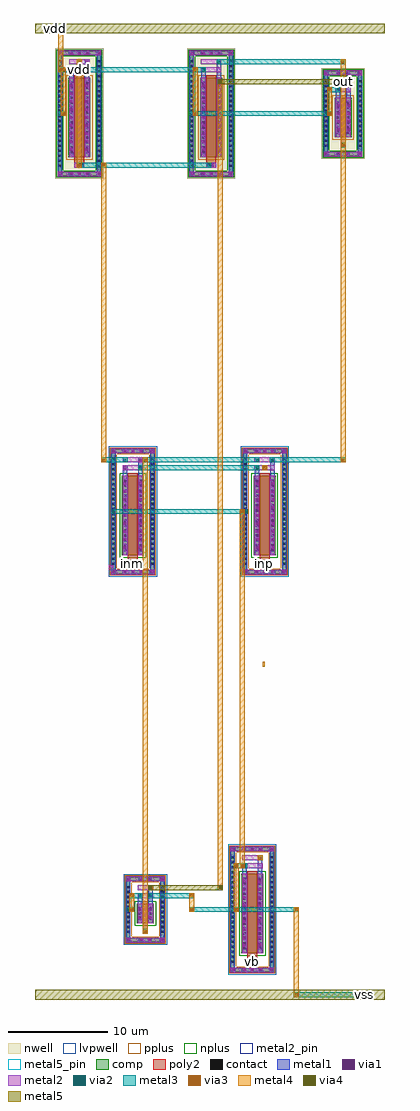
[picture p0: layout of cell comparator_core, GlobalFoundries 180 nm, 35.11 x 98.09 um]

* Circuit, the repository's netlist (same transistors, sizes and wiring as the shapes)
* NGSPICE file created from comparator_core.ext - technology: gf180mcuD

.subckt comparator_core vdd vss out vb inm inp
X0 a_3575_n881# vb vss vss nfet_03v3 ad=4.8p pd=17.2u as=4.8p ps=17.2u w=8u l=1u
X1 a_n100_14911# inm a_855_7119# vss nfet_03v3 ad=4.8p pd=17.2u as=4.8p ps=17.2u w=8u l=1u
X2 out a_1275_n489# vss vss nfet_03v3 ad=1.2p pd=5.2u as=1.2p ps=5.2u w=2u l=0.5u
X3 out a_1275_n489# vdd vdd pfet_03v3 ad=2.4p pd=9.2u as=2.4p ps=9.2u w=4u l=0.5u
X4 a_1275_n489# a_n100_14911# vdd vdd pfet_03v3 ad=4.8p pd=17.2u as=4.8p ps=17.2u w=8u l=1u
X5 a_1275_n489# inp a_855_7119# vss nfet_03v3 ad=4.8p pd=17.2u as=4.8p ps=17.2u w=8u l=1u
X6 a_n100_14911# a_n100_14911# vdd vdd pfet_03v3 ad=4.8p pd=17.2u as=4.8p ps=17.2u w=8u l=1u
.ends

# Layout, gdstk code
import gdstk
lib = gdstk.Library(unit=1e-6, precision=5e-09)
def R(c, l, rs):  # rectangles x0, y0, x1, y1
    for r in rs: c.add(gdstk.rectangle(r[:2], r[2:], *l))
def A(c, l, x, y, w, h, nx, ny, dx, dy):  # array of equal rectangles
    R(c, l, [(x+i*dx, y+j*dy, x+i*dx+w, y+j*dy+h) for i in range(nx) for j in range(ny)])
def P(c, l, *ps):  # polygons
    for p in ps: c.add(gdstk.Polygon(p, *l))
nwell = (21, 0)
comp = (22, 0)
poly2 = (30, 0)
pplus = (31, 0)
nplus = (32, 0)
contact = (33, 0)
metal1 = (34, 0)
via1 = (35, 0)
metal2 = (36, 0)
metal2_pin = (36, 10)
via2 = (38, 0)
via3 = (40, 0)
via4 = (41, 0)
metal3 = (42, 0)
metal4 = (46, 0)
metal5 = (81, 0)
metal5_pin = (81, 10)
lvpwell = (204, 0)

comparator_core = lib.new_cell('comparator_core')
R(comparator_core, nwell, [(-2.43,73.455,2.43,86.545), (10.82,73.455,15.68,86.545), (-2.27,73.615,2.27,86.385), (10.98,73.615,15.52,86.385), (24.32,75.455,28.68,84.545), (24.48,75.615,28.52,84.385)])
A(comparator_core, comp, 16.395, -6.265, 0.36, 0.36, 3, 2, 0.8, 12.17)
A(comparator_core, comp, 15.225, -5.43, 0.36, 0.36, 1, 22, 0, 0.5)
A(comparator_core, comp, 19.165, -5.43, 0.36, 0.36, 1, 22, 0, 0.5)
A(comparator_core, comp, 4.725, -2.43, 0.36, 0.36, 1, 10, 0, 0.5)
A(comparator_core, comp, 8.165, -2.43, 0.36, 0.36, 1, 10, 0, 0.5)
A(comparator_core, comp, 4.395, 33.735, 0.36, 0.36, 3, 2, 0.8, 12.17)
A(comparator_core, comp, 17.645, 33.735, 0.36, 0.36, 3, 2, 0.8, 12.17)
A(comparator_core, comp, 3.225, 34.57, 0.36, 0.36, 1, 22, 0, 0.5)
A(comparator_core, comp, 7.165, 34.57, 0.36, 0.36, 1, 22, 0, 0.5)
A(comparator_core, comp, 16.475, 34.57, 0.36, 0.36, 1, 22, 0, 0.5)
A(comparator_core, comp, 20.415, 34.57, 0.36, 0.36, 1, 22, 0, 0.5)
A(comparator_core, comp, -0.98, 73.735, 0.36, 0.36, 3, 2, 0.8, 12.17)
A(comparator_core, comp, 12.27, 73.735, 0.36, 0.36, 3, 2, 0.8, 12.17)
A(comparator_core, comp, -2.15, 74.57, 0.36, 0.36, 1, 22, 0, 0.5)
A(comparator_core, comp, 1.79, 74.57, 0.36, 0.36, 1, 22, 0, 0.5)
A(comparator_core, comp, 11.1, 74.57, 0.36, 0.36, 1, 22, 0, 0.5)
A(comparator_core, comp, 15.04, 74.57, 0.36, 0.36, 1, 22, 0, 0.5)
A(comparator_core, comp, 24.6, 76.57, 0.36, 0.36, 1, 14, 0, 0.5)
A(comparator_core, comp, 28.04, 76.57, 0.36, 0.36, 1, 14, 0, 0.5)
R(comparator_core, comp, [(16.395,-6.265,18.355,-5.905), (15.225,-5.43,15.585,5.43), (19.165,-5.43,19.525,5.43), (16.275,-4.405,18.475,3.595), (6.045,-3.265,6.405,-2.905), (6.045,-3.265,7.205,-2.905), (6.845,-3.265,7.205,-2.905), (4.725,-2.43,5.085,2.43), (8.165,-2.43,8.525,2.43), (5.775,-1.405,7.475,0.595), (6.045,2.905,6.405,3.265), (6.045,2.905,7.205,3.265), (6.845,2.905,7.205,3.265), (16.395,5.905,18.355,6.265), (4.395,33.735,6.355,34.095), (17.645,33.735,19.605,34.095), (3.225,34.57,3.585,45.43), (7.165,34.57,7.525,45.43), (16.475,34.57,16.835,45.43), (20.415,34.57,20.775,45.43), (4.275,35.595,6.475,43.595), (17.525,35.595,19.725,43.595), (4.395,45.905,6.355,46.265), (17.645,45.905,19.605,46.265), (-0.98,73.735,0.98,74.095), (12.27,73.735,14.23,74.095), (-2.15,74.57,-1.79,85.43), (1.79,74.57,2.15,85.43), (11.1,74.57,11.46,85.43), (15.04,74.57,15.4,85.43), (-1.1,75.595,1.1,83.595), (12.15,75.595,14.35,83.595), (25.92,75.735,26.28,76.095), (25.92,75.735,27.08,76.095), (26.72,75.735,27.08,76.095), (24.6,76.57,24.96,83.43), (28.04,76.57,28.4,83.43), (25.65,77.595,27.35,81.595), (25.92,83.905,26.28,84.265), (25.92,83.905,27.08,84.265), (26.72,83.905,27.08,84.265), (-0.98,85.905,0.98,86.265), (12.27,85.905,14.23,86.265)])
P(comparator_core, comp, [(7.525,46.265),(3.225,46.265),(3.225,34.095),(3.585,34.095),(3.585,45.905),(7.165,45.905),(7.165,34.095),(3.585,34.095),(3.225,34.095),(3.225,33.735),(7.525,33.735)],
  [(8.525,3.265),(4.725,3.265),(4.725,-2.905),(5.085,-2.905),(5.085,2.905),(8.165,2.905),(8.165,-2.905),(5.085,-2.905),(4.725,-2.905),(4.725,-3.265),(8.525,-3.265)],
  [(28.4,84.265),(24.6,84.265),(24.6,76.095),(24.96,76.095),(24.96,83.905),(28.04,83.905),(28.04,76.095),(24.96,76.095),(24.6,76.095),(24.6,75.735),(28.4,75.735)],
  [(19.525,6.265),(15.225,6.265),(15.225,-5.905),(15.585,-5.905),(15.585,5.905),(19.165,5.905),(19.165,-5.905),(15.585,-5.905),(15.225,-5.905),(15.225,-6.265),(19.525,-6.265)],
  [(15.4,86.265),(11.1,86.265),(11.1,74.095),(11.46,74.095),(11.46,85.905),(15.04,85.905),(15.04,74.095),(11.46,74.095),(11.1,74.095),(11.1,73.735),(15.4,73.735)],
  [(2.15,86.265),(-2.15,86.265),(-2.15,74.095),(-1.79,74.095),(-1.79,85.905),(1.79,85.905),(1.79,74.095),(-1.79,74.095),(-2.15,74.095),(-2.15,73.735),(2.15,73.735)],
  [(20.775,46.265),(16.475,46.265),(16.475,34.095),(16.835,34.095),(16.835,45.905),(20.415,45.905),(20.415,34.095),(16.835,34.095),(16.475,34.095),(16.475,33.735),(20.775,33.735)])
R(comparator_core, poly2, [(16.875,-5.445,17.875,-4.945), (17.195,-5.375,17.555,-5.015), (16.875,-4.945,17.875,-4.645), (16.875,-4.645,17.875,3.835), (6.375,-2.445,6.875,-1.945), (6.445,-2.375,6.805,-2.015), (6.375,-1.945,6.875,-1.645), (6.375,-1.645,6.875,0.835), (4.875,34.555,5.875,35.055), (18.125,34.555,19.125,35.055), (5.195,34.625,5.555,34.985), (18.445,34.625,18.805,34.985), (4.875,35.055,5.875,35.355), (18.125,35.055,19.125,35.355), (4.875,35.355,5.875,43.835), (18.125,35.355,19.125,43.835), (-0.5,74.555,0.5,75.055), (12.75,74.555,13.75,75.055), (-0.18,74.625,0.18,74.985), (13.07,74.625,13.43,74.985), (-0.5,75.055,0.5,75.355), (12.75,75.055,13.75,75.355), (-0.5,75.355,0.5,83.835), (12.75,75.355,13.75,83.835), (26.25,76.555,26.75,77.055), (26.32,76.625,26.68,76.985), (26.25,77.055,26.75,77.355), (26.25,77.355,26.75,81.835)])
R(comparator_core, pplus, [(-1.33,75.365,1.33,83.825), (11.92,75.365,14.58,83.825), (25.42,77.365,27.58,81.825)])
P(comparator_core, pplus, [(7.685,46.425),(3.065,46.425),(3.065,34.255),(3.745,34.255),(3.745,45.745),(7.005,45.745),(7.005,34.255),(3.745,34.255),(3.065,34.255),(3.065,33.575),(7.685,33.575)],
  [(8.685,3.425),(4.565,3.425),(4.565,-2.745),(5.245,-2.745),(5.245,2.745),(8.005,2.745),(8.005,-2.745),(5.245,-2.745),(4.565,-2.745),(4.565,-3.425),(8.685,-3.425)],
  [(19.685,6.425),(15.065,6.425),(15.065,-5.745),(15.745,-5.745),(15.745,5.745),(19.005,5.745),(19.005,-5.745),(15.745,-5.745),(15.065,-5.745),(15.065,-6.425),(19.685,-6.425)],
  [(20.935,46.425),(16.315,46.425),(16.315,34.255),(16.995,34.255),(16.995,45.745),(20.255,45.745),(20.255,34.255),(16.995,34.255),(16.315,34.255),(16.315,33.575),(20.935,33.575)])
R(comparator_core, nplus, [(16.045,-4.635,18.705,3.825), (5.545,-1.635,7.705,0.825), (4.045,35.365,6.705,43.825), (17.295,35.365,19.955,43.825)])
P(comparator_core, nplus, [(28.56,84.425),(24.44,84.425),(24.44,76.255),(25.12,76.255),(25.12,83.745),(27.88,83.745),(27.88,76.255),(25.12,76.255),(24.44,76.255),(24.44,75.575),(28.56,75.575)],
  [(15.56,86.425),(10.94,86.425),(10.94,74.255),(11.62,74.255),(11.62,85.745),(14.88,85.745),(14.88,74.255),(11.62,74.255),(10.94,74.255),(10.94,73.575),(15.56,73.575)],
  [(2.31,86.425),(-2.31,86.425),(-2.31,74.255),(-1.63,74.255),(-1.63,85.745),(1.63,85.745),(1.63,74.255),(-1.63,74.255),(-2.31,74.255),(-2.31,73.575),(2.31,73.575)])
A(comparator_core, contact, 16.465, -6.195, 0.22, 0.22, 3, 2, 0.8, 12.17)
A(comparator_core, contact, 15.295, -5.36, 0.22, 0.22, 1, 22, 0, 0.5)
A(comparator_core, contact, 19.235, -5.36, 0.22, 0.22, 1, 22, 0, 0.5)
A(comparator_core, contact, 16.485, -4.015, 0.22, 0.22, 1, 15, 0, 0.5)
A(comparator_core, contact, 18.045, -4.015, 0.22, 0.22, 1, 15, 0, 0.5)
A(comparator_core, contact, 4.795, -2.36, 0.22, 0.22, 1, 10, 0, 0.5)
A(comparator_core, contact, 8.235, -2.36, 0.22, 0.22, 1, 10, 0, 0.5)
A(comparator_core, contact, 5.985, -1.015, 0.22, 0.22, 1, 3, 0, 0.5)
A(comparator_core, contact, 7.045, -1.015, 0.22, 0.22, 1, 3, 0, 0.5)
A(comparator_core, contact, 4.465, 33.805, 0.22, 0.22, 3, 2, 0.8, 12.17)
A(comparator_core, contact, 17.715, 33.805, 0.22, 0.22, 3, 2, 0.8, 12.17)
A(comparator_core, contact, 3.295, 34.64, 0.22, 0.22, 1, 22, 0, 0.5)
A(comparator_core, contact, 7.235, 34.64, 0.22, 0.22, 1, 22, 0, 0.5)
A(comparator_core, contact, 16.545, 34.64, 0.22, 0.22, 1, 22, 0, 0.5)
A(comparator_core, contact, 20.485, 34.64, 0.22, 0.22, 1, 22, 0, 0.5)
A(comparator_core, contact, 4.485, 35.985, 0.22, 0.22, 1, 15, 0, 0.5)
A(comparator_core, contact, 6.045, 35.985, 0.22, 0.22, 1, 15, 0, 0.5)
A(comparator_core, contact, 17.735, 35.985, 0.22, 0.22, 1, 15, 0, 0.5)
A(comparator_core, contact, 19.295, 35.985, 0.22, 0.22, 1, 15, 0, 0.5)
A(comparator_core, contact, -0.91, 73.805, 0.22, 0.22, 3, 2, 0.8, 12.17)
A(comparator_core, contact, 12.34, 73.805, 0.22, 0.22, 3, 2, 0.8, 12.17)
A(comparator_core, contact, -2.08, 74.64, 0.22, 0.22, 1, 22, 0, 0.5)
A(comparator_core, contact, 1.86, 74.64, 0.22, 0.22, 1, 22, 0, 0.5)
A(comparator_core, contact, 11.17, 74.64, 0.22, 0.22, 1, 22, 0, 0.5)
A(comparator_core, contact, 15.11, 74.64, 0.22, 0.22, 1, 22, 0, 0.5)
A(comparator_core, contact, -0.89, 75.985, 0.22, 0.22, 1, 15, 0, 0.5)
A(comparator_core, contact, 0.67, 75.985, 0.22, 0.22, 1, 15, 0, 0.5)
A(comparator_core, contact, 12.36, 75.985, 0.22, 0.22, 1, 15, 0, 0.5)
A(comparator_core, contact, 13.92, 75.985, 0.22, 0.22, 1, 15, 0, 0.5)
A(comparator_core, contact, 24.67, 76.64, 0.22, 0.22, 1, 14, 0, 0.5)
A(comparator_core, contact, 28.11, 76.64, 0.22, 0.22, 1, 14, 0, 0.5)
A(comparator_core, contact, 25.86, 77.985, 0.22, 0.22, 1, 7, 0, 0.5)
A(comparator_core, contact, 26.92, 77.985, 0.22, 0.22, 1, 7, 0, 0.5)
R(comparator_core, contact, [(17.265,-5.305,17.485,-5.085), (6.115,-3.195,6.335,-2.975), (6.915,-3.195,7.135,-2.975), (6.515,-2.305,6.735,-2.085), (6.115,2.975,6.335,3.195), (6.915,2.975,7.135,3.195), (5.265,34.695,5.485,34.915), (18.515,34.695,18.735,34.915), (-0.11,74.695,0.11,74.915), (13.14,74.695,13.36,74.915), (25.99,75.805,26.21,76.025), (26.79,75.805,27.01,76.025), (26.39,76.695,26.61,76.915), (25.99,83.975,26.21,84.195), (26.79,83.975,27.01,84.195)])
A(comparator_core, metal1, 16.325, -6.335, 0.5, 0.5, 3, 2, 0.8, 12.17)
A(comparator_core, metal1, 15.175, -5.48, 0.46, 0.46, 1, 22, 0, 0.5)
A(comparator_core, metal1, 19.115, -5.48, 0.46, 0.46, 1, 22, 0, 0.5)
A(comparator_core, metal1, 16.365, -4.135, 0.46, 0.46, 1, 15, 0, 0.5)
A(comparator_core, metal1, 17.925, -4.135, 0.46, 0.46, 1, 15, 0, 0.5)
A(comparator_core, metal1, 16.345, -3.855, 0.5, 0.5, 1, 9, 0, 0.8)
A(comparator_core, metal1, 17.905, -3.855, 0.5, 0.5, 1, 9, 0, 0.8)
A(comparator_core, metal1, 4.675, -3.335, 0.5, 0.5, 1, 3, 0, 3.085)
A(comparator_core, metal1, 4.675, -2.48, 0.46, 0.46, 1, 10, 0, 0.5)
A(comparator_core, metal1, 8.115, -2.48, 0.46, 0.46, 1, 10, 0, 0.5)
A(comparator_core, metal1, 5.865, -1.135, 0.46, 0.46, 1, 3, 0, 0.5)
A(comparator_core, metal1, 6.925, -1.135, 0.46, 0.46, 1, 3, 0, 0.5)
A(comparator_core, metal1, 3.175, 33.665, 0.5, 0.5, 1, 3, 0, 6.085)
A(comparator_core, metal1, 4.325, 33.665, 0.5, 0.5, 3, 2, 0.8, 12.17)
A(comparator_core, metal1, 17.575, 33.665, 0.5, 0.5, 3, 2, 0.8, 12.17)
A(comparator_core, metal1, 3.175, 34.52, 0.46, 0.46, 1, 22, 0, 0.5)
A(comparator_core, metal1, 7.115, 34.52, 0.46, 0.46, 1, 22, 0, 0.5)
A(comparator_core, metal1, 16.425, 34.52, 0.46, 0.46, 1, 22, 0, 0.5)
A(comparator_core, metal1, 20.365, 34.52, 0.46, 0.46, 1, 22, 0, 0.5)
A(comparator_core, metal1, 4.365, 35.865, 0.46, 0.46, 1, 15, 0, 0.5)
A(comparator_core, metal1, 5.925, 35.865, 0.46, 0.46, 1, 15, 0, 0.5)
A(comparator_core, metal1, 17.615, 35.865, 0.46, 0.46, 1, 15, 0, 0.5)
A(comparator_core, metal1, 19.175, 35.865, 0.46, 0.46, 1, 15, 0, 0.5)
A(comparator_core, metal1, 4.345, 36.145, 0.5, 0.5, 1, 9, 0, 0.8)
A(comparator_core, metal1, 5.905, 36.145, 0.5, 0.5, 1, 9, 0, 0.8)
A(comparator_core, metal1, 17.595, 36.145, 0.5, 0.5, 1, 9, 0, 0.8)
A(comparator_core, metal1, 19.155, 36.145, 0.5, 0.5, 1, 9, 0, 0.8)
A(comparator_core, metal1, -2.2, 73.665, 0.5, 0.5, 1, 3, 0, 6.085)
A(comparator_core, metal1, -1.05, 73.665, 0.5, 0.5, 3, 2, 0.8, 12.17)
A(comparator_core, metal1, 12.2, 73.665, 0.5, 0.5, 3, 2, 0.8, 12.17)
A(comparator_core, metal1, -2.2, 74.52, 0.46, 0.46, 1, 22, 0, 0.5)
A(comparator_core, metal1, 1.74, 74.52, 0.46, 0.46, 1, 22, 0, 0.5)
A(comparator_core, metal1, 11.05, 74.52, 0.46, 0.46, 1, 22, 0, 0.5)
A(comparator_core, metal1, 14.99, 74.52, 0.46, 0.46, 1, 22, 0, 0.5)
A(comparator_core, metal1, -1.01, 75.865, 0.46, 0.46, 1, 15, 0, 0.5)
A(comparator_core, metal1, 0.55, 75.865, 0.46, 0.46, 1, 15, 0, 0.5)
A(comparator_core, metal1, 12.24, 75.865, 0.46, 0.46, 1, 15, 0, 0.5)
A(comparator_core, metal1, 13.8, 75.865, 0.46, 0.46, 1, 15, 0, 0.5)
A(comparator_core, metal1, -1.03, 76.145, 0.5, 0.5, 1, 9, 0, 0.8)
A(comparator_core, metal1, 0.53, 76.145, 0.5, 0.5, 1, 9, 0, 0.8)
A(comparator_core, metal1, 12.22, 76.145, 0.5, 0.5, 1, 9, 0, 0.8)
A(comparator_core, metal1, 13.78, 76.145, 0.5, 0.5, 1, 9, 0, 0.8)
A(comparator_core, metal1, 24.55, 76.52, 0.46, 0.46, 1, 14, 0, 0.5)
A(comparator_core, metal1, 27.99, 76.52, 0.46, 0.46, 1, 14, 0, 0.5)
A(comparator_core, metal1, 25.74, 77.865, 0.46, 0.46, 1, 7, 0, 0.5)
A(comparator_core, metal1, 26.8, 77.865, 0.46, 0.46, 1, 7, 0, 0.5)
A(comparator_core, metal1, 25.72, 78.145, 0.5, 0.5, 1, 4, 0, 0.8)
A(comparator_core, metal1, 26.78, 78.145, 0.5, 0.5, 1, 4, 0, 0.8)
R(comparator_core, metal1, [(15.175,-6.335,15.675,-5.835), (15.175,-6.335,15.675,-5.835), (15.175,-6.335,15.635,-5.905), (16.325,-6.335,18.425,-5.835), (19.075,-6.335,19.575,-5.835), (19.075,-6.335,19.575,-5.835), (19.115,-6.335,19.575,-5.905), (15.175,-5.905,15.635,5.905), (19.115,-5.905,19.575,5.905), (17.125,-5.445,17.625,-4.945), (16.365,-4.405,16.825,3.595), (17.925,-4.405,18.385,3.595), (16.345,-3.855,16.845,3.045), (17.905,-3.855,18.405,3.045), (4.675,-3.335,5.175,-2.835), (4.675,-3.335,5.135,-2.905), (5.975,-3.335,6.475,-2.835), (5.975,-3.335,7.275,-2.835), (6.775,-3.335,7.275,-2.835), (8.075,-3.335,8.575,-2.835), (8.075,-3.335,8.575,-2.835), (8.115,-3.335,8.575,-2.905), (4.675,-2.905,5.135,2.905), (8.115,-2.905,8.575,2.905), (6.375,-2.445,6.875,-1.945), (5.865,-1.405,6.325,0.595), (6.925,-1.405,7.385,0.595), (5.845,-1.055,6.345,-0.555), (5.845,-1.055,6.345,0.245), (6.905,-1.055,7.405,-0.555), (6.905,-1.055,7.405,0.245), (5.845,-0.255,6.345,0.245), (6.905,-0.255,7.405,0.245), (15.175,-0.25,15.675,0.25), (15.175,-0.25,15.675,0.25), (15.175,-0.25,15.675,0.25), (5.865,0.595,6.325,1.645), (6.925,0.595,7.385,2.445), (5.845,1.145,6.345,1.645), (6.905,1.945,7.405,2.445), (4.675,2.835,5.175,3.335), (5.975,2.835,6.475,3.335), (5.975,2.835,7.275,3.335), (6.775,2.835,7.275,3.335), (8.075,2.835,8.575,3.335), (8.075,2.835,8.575,3.335), (4.675,2.905,5.135,3.335), (8.115,2.905,8.575,3.335), (16.365,3.595,16.825,4.645), (17.925,3.595,18.385,5.445), (16.345,4.145,16.845,4.645), (17.905,4.945,18.405,5.445), (15.175,5.835,15.675,6.335), (15.175,5.835,15.675,6.335), (16.325,5.835,18.425,6.335), (19.075,5.835,19.575,6.335), (19.075,5.835,19.575,6.335), (15.175,5.905,15.635,6.335), (19.115,5.905,19.575,6.335), (3.175,33.665,3.675,34.165), (3.175,33.665,3.635,34.095), (4.325,33.665,6.425,34.165), (7.075,33.665,7.575,34.165), (7.075,33.665,7.575,34.165), (7.115,33.665,7.575,34.095), (16.425,33.665,16.925,34.165), (16.425,33.665,16.925,34.165), (16.425,33.665,16.885,34.095), (17.575,33.665,19.675,34.165), (20.325,33.665,20.825,34.165), (20.325,33.665,20.825,34.165), (20.365,33.665,20.825,34.095), (3.175,34.095,3.635,45.905), (7.115,34.095,7.575,45.905), (16.425,34.095,16.885,45.905), (20.365,34.095,20.825,45.905), (5.125,34.555,5.625,35.055), (18.375,34.555,18.875,35.055), (4.365,35.595,4.825,43.595), (5.925,35.595,6.385,43.595), (17.615,35.595,18.075,43.595), (19.175,35.595,19.635,43.595), (4.345,36.145,4.845,43.045), (5.905,36.145,6.405,43.045), (17.595,36.145,18.095,43.045), (19.155,36.145,19.655,43.045), (16.425,39.75,16.925,40.25), (16.425,39.75,16.925,40.25), (4.365,43.595,4.825,44.645), (5.925,43.595,6.385,45.445), (17.615,43.595,18.075,44.645), (19.175,43.595,19.635,45.445), (4.345,44.145,4.845,44.645), (17.595,44.145,18.095,44.645), (5.905,44.945,6.405,45.445), (19.155,44.945,19.655,45.445), (3.175,45.835,3.675,46.335), (4.325,45.835,6.425,46.335), (7.075,45.835,7.575,46.335), (7.075,45.835,7.575,46.335), (16.425,45.835,16.925,46.335), (16.425,45.835,16.925,46.335), (17.575,45.835,19.675,46.335), (20.325,45.835,20.825,46.335), (20.325,45.835,20.825,46.335), (3.175,45.905,3.635,46.335), (7.115,45.905,7.575,46.335), (16.425,45.905,16.885,46.335), (20.365,45.905,20.825,46.335), (-2.2,73.665,-1.7,74.165), (-2.2,73.665,-1.74,74.095), (-1.05,73.665,1.05,74.165), (1.7,73.665,2.2,74.165), (1.7,73.665,2.2,74.165), (1.74,73.665,2.2,74.095), (11.05,73.665,11.55,74.165), (11.05,73.665,11.55,74.165), (11.05,73.665,11.51,74.095), (12.2,73.665,14.3,74.165), (14.95,73.665,15.45,74.165), (14.95,73.665,15.45,74.165), (14.99,73.665,15.45,74.095), (-2.2,74.095,-1.74,85.905), (1.74,74.095,2.2,85.905), (11.05,74.095,11.51,85.905), (14.99,74.095,15.45,85.905), (-0.25,74.555,0.25,75.055), (13,74.555,13.5,75.055), (-1.01,75.595,-0.55,83.595), (0.55,75.595,1.01,83.595), (12.24,75.595,12.7,83.595), (13.8,75.595,14.26,83.595), (24.55,75.665,25.05,76.165), (24.55,75.665,25.05,76.165), (24.55,75.665,25.01,76.095), (25.85,75.665,26.35,76.165), (25.85,75.665,27.15,76.165), (26.65,75.665,27.15,76.165), (27.95,75.665,28.45,76.165), (27.95,75.665,28.45,76.165), (27.99,75.665,28.45,76.095), (24.55,76.095,25.01,83.905), (27.99,76.095,28.45,83.905), (-1.03,76.145,-0.53,83.045), (0.53,76.145,1.03,83.045), (12.22,76.145,12.72,83.045), (13.78,76.145,14.28,83.045), (26.25,76.555,26.75,77.055), (25.74,77.595,26.2,81.595), (26.8,77.595,27.26,81.595), (25.72,78.145,26.22,81.045), (26.78,78.145,27.28,81.045), (11.05,79.75,11.55,80.25), (11.05,79.75,11.55,80.25), (24.55,79.75,25.05,80.25), (24.55,79.75,25.05,80.25), (25.74,81.595,26.2,82.645), (26.8,81.595,27.26,83.445), (25.72,82.145,26.22,82.645), (26.78,82.945,27.28,83.445), (-1.01,83.595,-0.55,84.645), (0.55,83.595,1.01,85.445), (12.24,83.595,12.7,84.645), (13.8,83.595,14.26,85.445), (24.55,83.835,25.05,84.335), (24.55,83.835,25.05,84.335), (25.85,83.835,26.35,84.335), (25.85,83.835,27.15,84.335), (26.65,83.835,27.15,84.335), (27.95,83.835,28.45,84.335), (27.95,83.835,28.45,84.335), (24.55,83.905,25.01,84.335), (27.99,83.905,28.45,84.335), (-1.03,84.145,-0.53,84.645), (12.22,84.145,12.72,84.645), (0.53,84.945,1.03,85.445), (13.78,84.945,14.28,85.445), (-2.2,85.835,-1.7,86.335), (-1.05,85.835,1.05,86.335), (1.7,85.835,2.2,86.335), (1.7,85.835,2.2,86.335), (11.05,85.835,11.55,86.335), (11.05,85.835,11.55,86.335), (12.2,85.835,14.3,86.335), (14.95,85.835,15.45,86.335), (14.95,85.835,15.45,86.335), (-2.2,85.905,-1.74,86.335), (1.74,85.905,2.2,86.335), (11.05,85.905,11.51,86.335), (14.99,85.905,15.45,86.335)])
A(comparator_core, via1, 16.445, -6.215, 0.26, 0.26, 3, 2, 0.8, 12.17)
A(comparator_core, via1, 16.465, -3.735, 0.26, 0.26, 1, 9, 0, 0.8)
A(comparator_core, via1, 18.025, -3.735, 0.26, 0.26, 1, 9, 0, 0.8)
A(comparator_core, via1, 4.795, -3.215, 0.26, 0.26, 1, 3, 0, 3.085)
A(comparator_core, via1, 3.295, 33.785, 0.26, 0.26, 1, 3, 0, 6.085)
A(comparator_core, via1, 4.445, 33.785, 0.26, 0.26, 3, 2, 0.8, 12.17)
A(comparator_core, via1, 17.695, 33.785, 0.26, 0.26, 3, 2, 0.8, 12.17)
A(comparator_core, via1, 4.465, 36.265, 0.26, 0.26, 1, 9, 0, 0.8)
A(comparator_core, via1, 6.025, 36.265, 0.26, 0.26, 1, 9, 0, 0.8)
A(comparator_core, via1, 17.715, 36.265, 0.26, 0.26, 1, 9, 0, 0.8)
A(comparator_core, via1, 19.275, 36.265, 0.26, 0.26, 1, 9, 0, 0.8)
A(comparator_core, via1, -2.08, 73.785, 0.26, 0.26, 1, 3, 0, 6.085)
A(comparator_core, via1, -0.93, 73.785, 0.26, 0.26, 3, 2, 0.8, 12.17)
A(comparator_core, via1, 12.32, 73.785, 0.26, 0.26, 3, 2, 0.8, 12.17)
A(comparator_core, via1, -0.91, 76.265, 0.26, 0.26, 1, 9, 0, 0.8)
A(comparator_core, via1, 0.65, 76.265, 0.26, 0.26, 1, 9, 0, 0.8)
A(comparator_core, via1, 12.34, 76.265, 0.26, 0.26, 1, 9, 0, 0.8)
A(comparator_core, via1, 13.9, 76.265, 0.26, 0.26, 1, 9, 0, 0.8)
A(comparator_core, via1, 25.84, 78.265, 0.26, 0.26, 1, 4, 0, 0.8)
A(comparator_core, via1, 26.9, 78.265, 0.26, 0.26, 1, 4, 0, 0.8)
R(comparator_core, via1, [(15.295,-6.215,15.555,-5.955), (19.195,-6.215,19.455,-5.955), (17.245,-5.325,17.505,-5.065), (6.095,-3.215,6.355,-2.955), (6.895,-3.215,7.155,-2.955), (8.195,-3.215,8.455,-2.955), (6.495,-2.325,6.755,-2.065), (5.965,-0.935,6.225,-0.675), (7.025,-0.935,7.285,-0.675), (5.965,-0.135,6.225,0.125), (7.025,-0.135,7.285,0.125), (15.295,-0.13,15.555,0.13), (15.295,-0.13,15.555,0.13), (15.295,-0.13,15.555,0.13), (5.965,1.265,6.225,1.525), (7.025,2.065,7.285,2.325), (6.095,2.955,6.355,3.215), (6.895,2.955,7.155,3.215), (8.195,2.955,8.455,3.215), (16.465,4.265,16.725,4.525), (18.025,5.065,18.285,5.325), (15.295,5.955,15.555,6.215), (19.195,5.955,19.455,6.215), (7.195,33.785,7.455,34.045), (16.545,33.785,16.805,34.045), (20.445,33.785,20.705,34.045), (5.245,34.675,5.505,34.935), (18.495,34.675,18.755,34.935), (16.545,39.87,16.805,40.13), (16.545,39.87,16.805,40.13), (4.465,44.265,4.725,44.525), (17.715,44.265,17.975,44.525), (6.025,45.065,6.285,45.325), (19.275,45.065,19.535,45.325), (7.195,45.955,7.455,46.215), (16.545,45.955,16.805,46.215), (20.445,45.955,20.705,46.215), (1.82,73.785,2.08,74.045), (11.17,73.785,11.43,74.045), (15.07,73.785,15.33,74.045), (-0.13,74.675,0.13,74.935), (13.12,74.675,13.38,74.935), (24.67,75.785,24.93,76.045), (25.97,75.785,26.23,76.045), (26.77,75.785,27.03,76.045), (28.07,75.785,28.33,76.045), (26.37,76.675,26.63,76.935), (11.17,79.87,11.43,80.13), (11.17,79.87,11.43,80.13), (24.67,79.87,24.93,80.13), (24.67,79.87,24.93,80.13), (25.84,82.265,26.1,82.525), (26.9,83.065,27.16,83.325), (24.67,83.955,24.93,84.215), (25.97,83.955,26.23,84.215), (26.77,83.955,27.03,84.215), (28.07,83.955,28.33,84.215), (-0.91,84.265,-0.65,84.525), (12.34,84.265,12.6,84.525), (0.65,85.065,0.91,85.325), (13.9,85.065,14.16,85.325), (1.82,85.955,2.08,86.215), (11.17,85.955,11.43,86.215), (15.07,85.955,15.33,86.215)])
A(comparator_core, metal2, 16.325, -6.335, 0.5, 0.5, 3, 2, 0.8, 12.17)
A(comparator_core, metal2, 16.345, -3.855, 0.5, 0.5, 1, 9, 0, 0.8)
A(comparator_core, metal2, 17.905, -3.855, 0.5, 0.5, 1, 9, 0, 0.8)
A(comparator_core, metal2, 4.675, -3.335, 0.5, 0.5, 1, 3, 0, 3.085)
A(comparator_core, metal2, 3.175, 33.665, 0.5, 0.5, 1, 3, 0, 6.085)
A(comparator_core, metal2, 4.325, 33.665, 0.5, 0.5, 3, 2, 0.8, 12.17)
A(comparator_core, metal2, 17.575, 33.665, 0.5, 0.5, 3, 2, 0.8, 12.17)
A(comparator_core, metal2, 4.345, 36.145, 0.5, 0.5, 1, 9, 0, 0.8)
A(comparator_core, metal2, 5.905, 36.145, 0.5, 0.5, 1, 9, 0, 0.8)
A(comparator_core, metal2, 17.595, 36.145, 0.5, 0.5, 1, 9, 0, 0.8)
A(comparator_core, metal2, 19.155, 36.145, 0.5, 0.5, 1, 9, 0, 0.8)
A(comparator_core, metal2, -2.2, 73.665, 0.5, 0.5, 1, 3, 0, 6.085)
A(comparator_core, metal2, -1.05, 73.665, 0.5, 0.5, 3, 2, 0.8, 12.17)
A(comparator_core, metal2, 12.2, 73.665, 0.5, 0.5, 3, 2, 0.8, 12.17)
A(comparator_core, metal2, -1.03, 76.145, 0.5, 0.5, 1, 9, 0, 0.8)
A(comparator_core, metal2, 0.53, 76.145, 0.5, 0.5, 1, 9, 0, 0.8)
A(comparator_core, metal2, 12.22, 76.145, 0.5, 0.5, 1, 9, 0, 0.8)
A(comparator_core, metal2, 13.78, 76.145, 0.5, 0.5, 1, 9, 0, 0.8)
A(comparator_core, metal2, 25.72, 78.145, 0.5, 0.5, 1, 4, 0, 0.8)
A(comparator_core, metal2, 26.78, 78.145, 0.5, 0.5, 1, 4, 0, 0.8)
A(comparator_core, metal2, 25.72, 82.945, 0.5, 0.5, 3, 1, 0.53, 0)
A(comparator_core, metal2, -1.03, 84.145, 0.5, 0.5, 3, 1, 0.78, 0)
R(comparator_core, metal2, [(28.43,-8.795,28.93,-8.295), (28.43,-8.795,28.93,-8.295), (15.175,-6.335,15.675,-5.835), (15.175,-6.335,15.675,-5.835), (15.175,-6.335,15.585,-5.835), (15.585,-6.335,19.165,-5.835), (19.075,-6.335,19.575,-5.835), (19.075,-6.335,19.575,-5.835), (19.165,-6.335,19.575,-5.835), (16.875,-5.445,17.875,-4.945), (17.125,-5.445,17.625,-4.945), (17.125,-5.445,17.625,-4.945), (16.345,-4.405,16.845,3.595), (17.905,-4.405,18.405,3.595), (4.675,-3.335,5.175,-2.835), (4.675,-3.335,5.085,-2.835), (5.085,-3.335,8.165,-2.835), (5.975,-3.335,6.475,-2.835), (6.775,-3.335,7.275,-2.835), (8.075,-3.335,8.575,-2.835), (8.075,-3.335,8.575,-2.835), (8.165,-3.335,8.575,-2.835), (6.375,-2.445,6.875,-1.945), (6.375,-2.445,6.875,-1.945), (6.375,-2.445,6.875,-1.945), (5.845,-1.405,6.345,0.595), (6.905,-1.405,7.405,0.595), (5.845,-1.055,6.345,-0.555), (6.905,-1.055,7.405,-0.555), (5.845,-0.255,6.345,0.245), (6.905,-0.255,7.405,0.245), (15.175,-0.25,15.675,0.25), (15.175,-0.25,15.675,0.25), (15.175,-0.25,15.675,0.25), (5.845,1.145,6.345,1.645), (5.845,1.145,6.345,1.645), (5.845,1.145,7.405,1.645), (6.905,1.145,7.405,1.645), (5.845,1.945,7.405,2.445), (6.905,1.945,7.405,2.445), (6.905,1.945,7.405,2.445), (4.675,2.835,5.175,3.335), (4.675,2.835,5.085,3.335), (5.085,2.835,8.165,3.335), (5.975,2.835,6.475,3.335), (6.775,2.835,7.275,3.335), (8.075,2.835,8.575,3.335), (8.075,2.835,8.575,3.335), (8.165,2.835,8.575,3.335), (16.345,4.145,16.845,4.645), (16.345,4.145,16.845,4.645), (16.345,4.145,16.845,4.645), (16.345,4.145,18.405,4.645), (16.345,4.945,18.405,5.445), (17.905,4.945,18.405,5.445), (17.905,4.945,18.405,5.445), (15.175,5.835,15.675,6.335), (15.175,5.835,15.675,6.335), (15.175,5.835,15.585,6.335), (15.585,5.835,19.165,6.335), (19.075,5.835,19.575,6.335), (19.075,5.835,19.575,6.335), (19.165,5.835,19.575,6.335), (3.175,33.665,3.675,34.165), (3.175,33.665,3.585,34.165), (3.585,33.665,7.165,34.165), (7.075,33.665,7.575,34.165), (7.075,33.665,7.575,34.165), (7.165,33.665,7.575,34.165), (16.425,33.665,16.925,34.165), (16.425,33.665,16.925,34.165), (16.425,33.665,16.835,34.165), (16.835,33.665,20.415,34.165), (20.325,33.665,20.825,34.165), (20.325,33.665,20.825,34.165), (20.415,33.665,20.825,34.165), (2.925,34.095,3.425,34.595), (4.875,34.555,5.875,35.055), (5.125,34.555,5.625,35.055), (5.125,34.555,5.625,35.055), (18.125,34.555,19.125,35.055), (18.375,34.555,18.875,35.055), (18.375,34.555,18.875,35.055), (4.345,35.595,4.845,43.595), (5.905,35.595,6.405,43.595), (17.595,35.595,18.095,43.595), (19.155,35.595,19.655,43.595), (16.425,39.75,16.925,40.25), (16.425,39.75,16.925,40.25), (4.345,44.145,4.845,44.645), (4.345,44.145,6.405,44.645), (5.905,44.145,6.405,44.645), (17.595,44.145,18.095,44.645), (17.595,44.145,18.095,44.645), (17.595,44.145,19.655,44.645), (18.375,44.145,18.875,44.645), (4.345,44.945,4.845,45.445), (4.345,44.945,6.405,45.445), (5.905,44.945,6.405,45.445), (17.595,44.945,18.095,45.445), (17.595,44.945,19.655,45.445), (19.155,44.945,19.655,45.445), (19.155,44.945,19.655,45.445), (3.175,45.835,3.675,46.335), (3.175,45.835,3.585,46.335), (3.585,45.835,7.165,46.335), (7.075,45.835,7.575,46.335), (7.075,45.835,7.575,46.335), (7.165,45.835,7.575,46.335), (16.425,45.835,16.925,46.335), (16.425,45.835,16.925,46.335), (16.425,45.835,16.835,46.335), (16.835,45.835,20.415,46.335), (20.325,45.835,20.825,46.335), (20.325,45.835,20.825,46.335), (20.415,45.835,20.825,46.335), (-2.2,73.665,-1.7,74.165), (-2.2,73.665,-1.79,74.165), (-1.79,73.665,1.79,74.165), (1.7,73.665,2.2,74.165), (1.7,73.665,2.2,74.165), (1.79,73.665,2.2,74.165), (11.05,73.665,11.55,74.165), (11.05,73.665,11.55,74.165), (11.05,73.665,11.46,74.165), (11.46,73.665,15.04,74.165), (14.95,73.665,15.45,74.165), (14.95,73.665,15.45,74.165), (15.04,73.665,15.45,74.165), (-0.5,74.555,0.5,75.055), (-0.25,74.555,0.25,75.055), (-0.25,74.555,0.25,75.055), (0,74.555,0.5,75.055), (0,74.555,0.5,75.055), (12.75,74.555,13.25,75.055), (12.75,74.555,13.75,75.055), (13,74.555,13.5,75.055), (-1.03,75.595,-0.53,83.595), (0.53,75.595,1.03,83.595), (12.22,75.595,12.72,83.595), (13.78,75.595,14.28,83.595), (24.55,75.665,25.05,76.165), (24.55,75.665,25.05,76.165), (24.55,75.665,24.96,76.165), (24.96,75.665,28.04,76.165), (25.85,75.665,26.35,76.165), (26.65,75.665,27.15,76.165), (27.95,75.665,28.45,76.165), (27.95,75.665,28.45,76.165), (28.04,75.665,28.45,76.165), (26.25,76.555,26.75,77.055), (26.25,76.555,26.75,77.055), (26.25,76.555,26.75,77.055), (26.25,76.555,26.75,77.055), (25.72,77.595,26.22,81.595), (26.78,77.595,27.28,81.595), (11.05,79.75,11.55,80.25), (11.05,79.75,11.55,80.25), (24.55,79.75,25.05,80.25), (24.55,79.75,25.05,80.25), (25.72,82.145,26.22,82.645), (25.72,82.145,26.22,82.645), (25.72,82.145,27.28,82.645), (25.72,82.945,27.28,83.445), (24.55,83.835,25.05,84.335), (24.55,83.835,25.05,84.335), (24.55,83.835,24.96,84.335), (24.96,83.835,28.04,84.335), (25.85,83.835,26.35,84.335), (26.65,83.835,27.15,84.335), (27.95,83.835,28.45,84.335), (27.95,83.835,28.45,84.335), (28.04,83.835,28.45,84.335), (-1.03,84.145,-0.53,84.645), (-1.03,84.145,-0.53,84.645), (-1.03,84.145,1.03,84.645), (12.22,84.145,12.72,84.645), (12.22,84.145,12.72,84.645), (12.22,84.145,12.72,84.645), (12.22,84.145,14.28,84.645), (-1.03,84.945,1.03,85.445), (-0.25,84.945,0.25,85.445), (0.53,84.945,1.03,85.445), (12.22,84.945,14.28,85.445), (13.78,84.945,14.28,85.445), (13.78,84.945,14.28,85.445), (-2.2,85.835,-1.7,86.335), (-2.2,85.835,-1.79,86.335), (-1.79,85.835,1.79,86.335), (1.7,85.835,2.2,86.335), (1.7,85.835,2.2,86.335), (1.79,85.835,2.2,86.335), (11.05,85.835,11.55,86.335), (11.05,85.835,11.55,86.335), (11.05,85.835,11.46,86.335), (11.46,85.835,15.04,86.335), (14.95,85.835,15.45,86.335), (14.95,85.835,15.45,86.335), (15.04,85.835,15.45,86.335), (-2.68,88.295,-2.18,88.795), (-2.68,88.295,-2.18,88.795)])
R(comparator_core, metal2_pin, [(17.125,-5.445,17.625,-4.945), (2.925,34.095,3.425,34.595), (5.125,34.555,5.625,35.055), (18.375,34.555,18.875,35.055), (26.25,82.945,26.75,83.445), (-0.25,84.145,0.25,84.645)])
R(comparator_core, via2, [(28.55,-8.675,28.81,-8.415), (28.55,-8.675,28.81,-8.415), (6.495,-2.325,6.755,-2.065), (4.795,-0.13,5.055,0.13), (15.295,-0.13,15.555,0.13), (15.295,-0.13,15.555,0.13), (15.295,-0.13,15.555,0.13), (5.965,1.265,6.225,1.525), (7.025,1.265,7.285,1.525), (7.025,2.065,7.285,2.325), (16.465,4.265,16.725,4.525), (16.465,4.265,16.725,4.525), (18.025,5.065,18.285,5.325), (3.295,39.87,3.555,40.13), (16.545,39.87,16.805,40.13), (16.545,39.87,16.805,40.13), (6.025,44.265,6.285,44.525), (17.715,44.265,17.975,44.525), (18.495,44.265,18.755,44.525), (4.465,45.065,4.725,45.325), (17.715,45.065,17.975,45.325), (19.275,45.065,19.535,45.325), (-0.13,74.675,0.13,74.935), (0.12,74.675,0.38,74.935), (0.12,74.675,0.38,74.935), (12.87,74.675,13.13,74.935), (26.37,76.675,26.63,76.935), (26.37,76.675,26.63,76.935), (-2.08,79.87,-1.82,80.13), (11.17,79.87,11.43,80.13), (11.17,79.87,11.43,80.13), (24.67,79.87,24.93,80.13), (24.67,79.87,24.93,80.13), (25.84,82.265,26.1,82.525), (25.84,83.065,26.1,83.325), (-0.91,84.265,-0.65,84.525), (-0.91,84.265,-0.65,84.525), (0.65,84.265,0.91,84.525), (12.34,84.265,12.6,84.525), (12.34,84.265,12.6,84.525), (-0.13,85.065,0.13,85.325), (13.9,85.065,14.16,85.325), (-2.56,88.415,-2.3,88.675), (-2.56,88.415,-2.3,88.675)])
R(comparator_core, via3, [(21.675,-8.675,21.935,-8.415), (28.55,-8.675,28.81,-8.415), (6.495,-2.325,6.755,-2.065), (5.13,-0.13,5.39,0.13), (11.16,-0.13,11.42,0.13), (15.63,-0.13,15.89,0.13), (21.675,-0.13,21.935,0.13), (5.13,1.265,5.39,1.525), (11.16,1.265,11.42,1.525), (7.025,2.065,7.285,2.325), (15.63,4.265,15.89,4.525), (16.255,4.265,16.515,4.525), (18.025,5.065,18.285,5.325), (16.255,39.87,16.515,40.13), (18.495,44.265,18.755,44.525), (2.295,45.065,2.55,45.325), (6.495,45.065,6.755,45.325), (26.37,45.065,26.63,45.325), (-0.13,74.675,0.13,74.935), (2.295,74.675,2.55,74.935), (26.37,76.675,26.63,76.935), (26.37,76.675,26.63,76.935), (-1.745,79.87,-1.485,80.13), (11.505,79.87,11.765,80.13), (25.005,79.87,25.265,80.13), (25.005,82.265,25.265,82.525), (25.84,83.065,26.1,83.325), (-1.985,84.265,-1.725,84.525), (-1.745,84.265,-1.485,84.525), (11.505,84.265,11.765,84.525), (-0.13,85.065,0.13,85.325), (26.37,85.065,26.63,85.325), (-2.56,88.415,-2.3,88.675), (-1.985,88.415,-1.725,88.675)])
R(comparator_core, via4, [(28.55,-8.675,28.81,-8.415), (7.025,2.065,7.285,2.325), (14.035,2.065,14.295,2.325), (14.035,83.065,14.295,83.325), (25.84,83.065,26.1,83.325), (-2.56,88.415,-2.3,88.675)])
R(comparator_core, metal3, [(21.555,-8.795,22.055,-8.295), (21.805,-8.795,28.43,-8.295), (28.43,-8.795,28.93,-8.295), (28.43,-8.795,28.93,-8.295), (6.375,-2.445,6.875,-1.945), (4.675,-0.25,5.26,0.25), (4.675,-0.25,5.175,0.25), (5.01,-0.25,5.51,0.25), (11.04,-0.25,11.54,0.25), (11.29,-0.25,15.175,0.25), (15.175,-0.25,15.76,0.25), (15.175,-0.25,21.805,0.25), (15.175,-0.25,15.675,0.25), (15.175,-0.25,15.675,0.25), (15.175,-0.25,15.675,0.25), (15.51,-0.25,16.01,0.25), (21.555,-0.25,22.055,0.25), (5.01,1.145,5.51,1.645), (5.26,1.145,5.845,1.645), (5.845,1.145,6.345,1.645), (6.905,1.145,7.405,1.645), (7.405,1.145,11.29,1.645), (11.04,1.145,11.54,1.645), (6.905,1.945,7.405,2.445), (15.51,4.145,16.01,4.645), (15.76,4.145,16.345,4.645), (16.135,4.145,16.635,4.645), (16.345,4.145,16.385,4.645), (16.345,4.145,16.845,4.645), (16.345,4.145,16.845,4.645), (17.905,4.945,18.405,5.445), (3.175,39.75,16.425,40.25), (3.175,39.75,3.675,40.25), (16.135,39.75,16.635,40.25), (16.385,39.75,16.425,40.25), (16.425,39.75,16.925,40.25), (16.425,39.75,16.925,40.25), (5.905,44.145,6.405,44.645), (6.405,44.145,17.595,44.645), (17.595,44.145,18.095,44.645), (18.375,44.145,18.875,44.645), (2.175,44.945,2.675,45.445), (2.425,44.945,4.345,45.445), (4.345,44.945,4.845,45.445), (6.375,44.945,6.875,45.445), (6.625,44.945,17.595,45.445), (17.595,44.945,18.095,45.445), (19.155,44.945,19.655,45.445), (19.655,44.945,26.5,45.445), (26.25,44.945,26.75,45.445), (-0.25,74.555,0.25,75.055), (0,74.555,0.5,75.055), (0,74.555,0.5,75.055), (0.5,74.555,12.75,75.055), (0.5,74.555,2.425,75.055), (2.175,74.555,2.675,75.055), (12.75,74.555,13.25,75.055), (26.25,76.555,26.75,77.055), (26.25,76.555,26.75,77.055), (-2.2,79.75,-1.615,80.25), (-2.2,79.75,-1.7,80.25), (-1.865,79.75,-1.365,80.25), (11.05,79.75,11.635,80.25), (11.05,79.75,24.55,80.25), (11.05,79.75,11.55,80.25), (11.05,79.75,11.55,80.25), (11.385,79.75,11.885,80.25), (24.55,79.75,25.135,80.25), (24.55,79.75,25.05,80.25), (24.55,79.75,25.05,80.25), (24.885,79.75,25.385,80.25), (24.885,82.145,25.385,82.645), (25.135,82.145,25.72,82.645), (25.72,82.145,26.22,82.645), (25.72,82.945,26.22,83.445), (-2.105,84.145,-1.605,84.645), (-1.865,84.145,-1.365,84.645), (-1.855,84.145,-1.03,84.645), (-1.615,84.145,-1.03,84.645), (-1.03,84.145,-0.53,84.645), (-1.03,84.145,-0.53,84.645), (0.53,84.145,1.03,84.645), (1.03,84.145,12.22,84.645), (11.385,84.145,11.885,84.645), (11.635,84.145,12.22,84.645), (12.22,84.145,12.72,84.645), (12.22,84.145,12.72,84.645), (-0.25,84.945,0.25,85.445), (13.78,84.945,14.28,85.445), (14.28,84.945,26.5,85.445), (26.25,84.945,26.75,85.445), (-2.68,88.295,-1.855,88.795), (-2.68,88.295,-2.18,88.795), (-2.68,88.295,-2.18,88.795), (-2.105,88.295,-1.605,88.795)])
R(comparator_core, metal4, [(21.555,-8.795,22.055,-8.295), (28.43,-8.795,28.93,-8.295), (21.555,-8.545,22.055,0), (6.375,-2.445,6.875,-1.945), (6.375,-1.945,6.875,45.195), (5.01,-0.25,5.51,0.25), (11.04,-0.25,11.54,0.25), (15.51,-0.25,16.01,0.25), (21.555,-0.25,22.055,0.25), (5.01,0,5.51,1.395), (11.04,0,11.54,1.395), (15.51,0,16.01,4.395), (5.01,1.145,5.51,1.645), (11.04,1.145,11.54,1.645), (6.905,1.945,7.405,2.445), (13.915,1.945,14.415,2.445), (13.915,2.195,14.415,83.195), (15.51,4.145,16.01,4.645), (16.135,4.145,16.635,4.645), (16.135,4.395,16.635,40), (17.905,4.945,18.405,5.445), (18.405,24.42,18.625,24.92), (16.135,39.75,16.635,40.25), (18.375,44.145,18.875,44.645), (2.175,44.945,2.675,45.445), (6.375,44.945,6.875,45.445), (26.25,44.945,26.75,45.445), (2.175,45.195,2.675,74.805), (26.25,45.195,26.75,76.555), (-0.25,74.555,0.25,75.055), (2.175,74.555,2.675,75.055), (-0.25,75.055,0.25,84.945), (26.25,76.555,26.75,77.055), (26.25,76.555,26.75,77.055), (26.25,77.055,26.75,85.195), (-1.865,79.75,-1.365,80.25), (11.385,79.75,11.885,80.25), (24.885,79.75,25.385,80.25), (-1.865,80,-1.365,84.395), (11.385,80,11.885,84.395), (24.885,80,25.385,82.395), (24.885,82.145,25.385,82.645), (13.915,82.945,14.415,83.445), (25.72,82.945,26.22,83.445), (-2.105,84.145,-1.605,84.645), (-1.865,84.145,-1.365,84.645), (11.385,84.145,11.885,84.645), (-2.105,84.395,-1.605,88.545), (-0.25,84.945,0.25,85.445), (26.25,84.945,26.75,85.445), (-2.68,88.295,-2.18,88.795), (-2.105,88.295,-1.605,88.795)])
R(comparator_core, metal5, [(-4.43,-9.045,30.68,-8.045), (28.43,-8.795,28.93,-8.295), (6.905,1.945,7.405,2.445), (7.405,1.945,14.165,2.445), (13.915,1.945,14.415,2.445), (13.915,82.945,14.415,83.445), (14.165,82.945,25.72,83.445), (25.72,82.945,26.22,83.445), (-4.43,88.045,30.68,89.045), (-2.68,88.295,-2.18,88.795)])
R(comparator_core, metal5_pin, [(28.18,-9.045,29.18,-8.045), (-2.93,88.045,-1.93,89.045)])
R(comparator_core, lvpwell, [(14.945,-6.545,19.805,6.545), (4.445,-3.545,8.805,3.545), (2.945,33.455,7.805,46.545), (16.195,33.455,21.055,46.545)])
comparator_core.add(gdstk.Label('vdd', (-2.43,88.545), layer=81, texttype=10))
comparator_core.add(gdstk.Label('vss', (28.68,-8.545), layer=81, texttype=10))
comparator_core.add(gdstk.Label('out', (26.5,83.195), layer=36, texttype=10))
comparator_core.add(gdstk.Label('vb', (17.375,-5.195), layer=36, texttype=10))
comparator_core.add(gdstk.Label('inm', (5.375,34.805), layer=36, texttype=10))
comparator_core.add(gdstk.Label('inp', (18.625,34.805), layer=36, texttype=10))
comparator_core.add(gdstk.Label('vss', (3.175,34.345), layer=36, texttype=10))
comparator_core.add(gdstk.Label('vdd', (0,84.395), layer=36, texttype=10))

lib.write_gds('comparator_core.gds')
